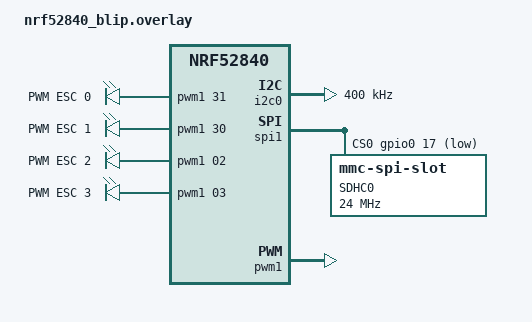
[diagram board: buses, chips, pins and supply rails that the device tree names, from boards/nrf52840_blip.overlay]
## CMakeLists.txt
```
cmake_minimum_required(VERSION 3.13.1)
find_package(Zephyr REQUIRED HINTS $ENV{ZEPHYR_BASE})
project(vibration_module)

target_sources(app PRIVATE
               src/main.c

               src/accelerometer/lis2dh12/lis2dh12.c
               src/accelerometer/accelerometer.c
               src/shell_debug/lis2dh12_shell_debug.c

               src/writer/disk/disk.c
               src/writer/writer.c

               src/esc_pwm/esc_pwm.c

               src/tester/tester.c
               #src/tester_python/tester_python.c
              )
```

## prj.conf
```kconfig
###### Shell ###################################################################
CONFIG_SHELL=y
CONFIG_DEVICE_SHELL=y
CONFIG_KERNEL_SHELL=y
CONFIG_SHELL_VT100_COLORS=n

###### Logging #################################################################
CONFIG_LOG=y

# TODO
# CONFIG_LOG_MODE_DEFERRED=y
# CONFIG_LOG_MODE_IMMEDIATE=y
CONFIG_LOG_MODE_MINIMAL=y

# Logging levels
CONFIG_LOG_DEFAULT_LEVEL=4
CONFIG_LOG_MAX_LEVEL=2

# CONFIG_LOG_PRINTK=y

# TODO
CONFIG_LOG_STRDUP_BUF_COUNT=20
# CONFIG_LOG_BUFFER_SIZE=15000

###### Peripherals #############################################################
# GPIO
CONFIG_GPIO=y

# I2C
CONFIG_I2C=y
CONFIG_I2C_0=y
CONFIG_I2C_NRFX=y

# Accelerometer
CONFIG_SENSOR=y
CONFIG_LIS2DH=n

# SPI
CONFIG_SPI=y

# Storage, Disk access
CONFIG_DISK_ACCESS=y

# File system
CONFIG_FILE_SYSTEM=y
CONFIG_FAT_FILESYSTEM_ELM=y
CONFIG_FS_FATFS_LFN=y

# SD card
CONFIG_DISK_DRIVER_SDMMC=y

# PWM
CONFIG_PWM=y

###### Other ###################################################################
CONFIG_CBPRINTF_FP_SUPPORT=y
CONFIG_RING_BUFFER=y

CONFIG_MAIN_STACK_SIZE=2048

###### DEBUG ###################################################################
# Random
CONFIG_ENTROPY_GENERATOR=y
CONFIG_TEST_RANDOM_GENERATOR=y

# Coredump
CONFIG_DEBUG_INFO=y
CONFIG_DEBUG_COREDUMP=y
CONFIG_DEBUG_COREDUMP_BACKEND_LOGGING=y

# Stack
CONFIG_HW_STACK_PROTECTION=y
CONFIG_STACK_CANARIES=y
CONFIG_EXCEPTION_STACK_TRACE=y

# PWM
CONFIG_PWM_LOG_LEVEL_DBG=n


# CONFIG_UART_0_NRF_PARITY_BIT=y
```

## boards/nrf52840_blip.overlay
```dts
&i2c0 {
	status = "ok";
	clock-frequency = <I2C_BITRATE_FAST>;
};

&spi1 {
        status = "ok";
        // cs-gpios = <&gpio0 17 GPIO_ACTIVE_HIGH>; // wrong
        cs-gpios = <&gpio0 17 (GPIO_PULL_UP | GPIO_ACTIVE_LOW)>; //correct

        sdhc0: sdhc@0 {
                compatible = "zephyr,mmc-spi-slot";
                reg = <0>;
                status = "ok";
                label = "SDHC0";
                spi-max-frequency = <24000000>;
        };
};

/ {
        pwmleds {
                compatible = "pwm-leds";
                pwm_led0: pwm_led0 {
                        pwms = <&pwm1 31>;
                        label = "PWM ESC 0";
                };

                pwm_led1: pwm_led1 {
                        pwms = <&pwm1 30>;
                        label = "PWM ESC 1";
                };

                pwm_led2: pwm_led2 {
                        pwms = <&pwm1 02>;
                        label = "PWM ESC 2";
                };

                pwm_led3: pwm_led3 {
                        pwms = <&pwm1 03>;
                        label = "PWM ESC 3";
                };
       };

       aliases {
               pwm-led0 = &pwm_led0;
               pwm-led1 = &pwm_led1;
               pwm-led2 = &pwm_led2;
               pwm-led3 = &pwm_led3;
       };
};

&pwm1 {
       status = "okay";
       ch0-pin = <31>;
       //ch0-inverted; // invert only for LEDs
       ch1-pin = <30>;
       ch2-pin = <02>;
       ch3-pin = <03>;
};

// TODO: new/rename nodes for the individual ESCs


// // Lower than default baud rate
// &uart0 {
// 	compatible = "nordic,nrf-uart";
// 	current-speed = <115200>;
// 	status = "okay";
// 	tx-pin = <6>;
// 	rx-pin = <8>;
// 	rts-pin = <5>;
// 	cts-pin = <7>;
// };
```

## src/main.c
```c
#include <device.h>
#include <logging/log.h>
#include <sys/printk.h>
#include <zephyr.h>

#include "common.h"

/* -------------------------------------------------------------------------- */

LOG_MODULE_REGISTER(main);

/* -------------------------------------------------------------------------- */

void main(void)
{
    // printk("Main: Hello world\n");
}

/* -------------------------------------------------------------------------- */

static int _init_main(const struct device *_)
{
    LOG_INF("thr: %p, SYS_INIT() MAIN_SYS_INIT_PRIORITY: %d\n", k_current_get(), MAIN_SYS_INIT_PRIORITY);

    return 0;
}

SYS_INIT(_init_main, APPLICATION, MAIN_SYS_INIT_PRIORITY);
```

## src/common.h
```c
#ifndef __COMMON_H__
#define __COMMON_H__

// SYS_INIT priorities: integer in range [0-99], lower values indicate earlier initialization
#define MAIN_SYS_INIT_PRIORITY 90
#define ACCELEROMETER_SYS_INIT_PRIORITY 92
#define WRITER_SYS_INIT_PRIORITY 91

// STACK SIZES
#define ACCELEROMETER_STACK_SIZE 2048
#define WRITER_STACK_SIZE 2048

// THREAD PRIORITIES (MAIN_THREAD_PRIORITY = -1)
#define ACCELEROMETER_THREAD_PRIORITY -1
#define WRITER_THREAD_PRIORITY -1

#endif // __COMMON_H__
```
